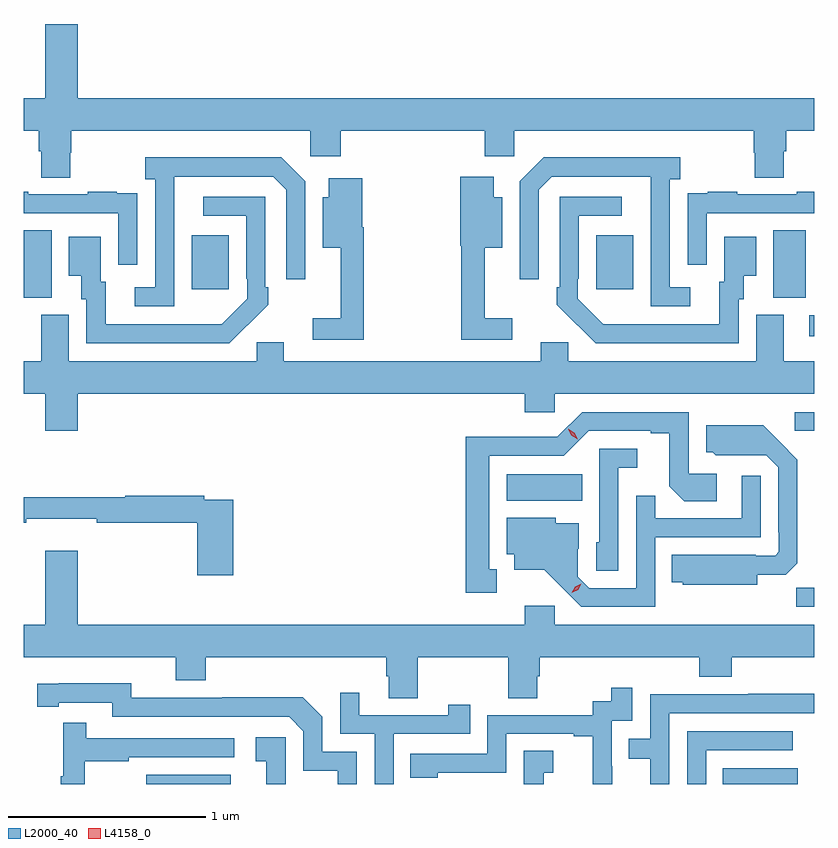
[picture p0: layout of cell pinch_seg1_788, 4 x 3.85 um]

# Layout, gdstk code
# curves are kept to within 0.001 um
import gdstk
lib = gdstk.Library(unit=1e-6, precision=1e-09)
def R(c, l, rs):  # rectangles x0, y0, x1, y1
    for r in rs: c.add(gdstk.rectangle(r[:2], r[2:], *l))
def P(c, l, *ps):  # polygons
    for p in ps: c.add(gdstk.Polygon(p, *l))
L2000_40 = (2000, 40)
L4158_0 = (4158, 0)

pinch_seg1_788 = lib.new_cell('pinch_seg1_788')
R(pinch_seg1_788, L2000_40, [(381.303,572.402,381.73,572.449), (384.22,572.402,384.598,572.482), (384.592,573.3,384.683,573.395), (383.126,573.836,383.51,573.97), (384.585,574.188,384.683,574.284), (384.657,574.668,384.683,574.773), (380.683,574.861,380.824,575.204), (384.476,574.861,384.64,575.204), (381.533,574.905,381.721,575.179), (383.579,574.905,383.767,575.179)])
P(pinch_seg1_788, L2000_40, [(380.919,575.595),(380.924,575.595),(380.924,575.708),(382.134,575.708),(382.134,575.577),(382.286,575.577),(382.286,575.708),(383.015,575.708),(383.015,575.577),(383.166,575.577),(383.166,575.708),(384.377,575.708),(384.377,575.595),(384.382,575.595),(384.382,575.47),(384.529,575.47),(384.529,575.602),(384.542,575.602),(384.542,575.708),(384.683,575.708),(384.683,575.872),(380.956,575.872),(380.956,576.247),(380.792,576.247),(380.792,575.872),(380.683,575.872),(380.683,575.708),(380.759,575.708),(380.759,575.602),(380.771,575.602),(380.771,575.47),(380.919,575.47)],
  [(381.444,575.275),(381.445,575.475),(381.945,575.475),(382.011,575.409),(382.011,574.956),(382.107,574.956),(382.107,575.451),(381.986,575.572),(381.297,575.572),(381.297,575.462),(381.348,575.462),(381.348,574.914),(381.246,574.914),(381.246,574.818),(381.444,574.818)],
  [(384.055,574.914),(383.952,574.914),(383.952,575.462),(384.004,575.462),(384.004,575.572),(383.314,575.572),(383.193,575.451),(383.193,574.956),(383.289,574.956),(383.289,575.409),(383.355,575.475),(383.855,575.475),(383.856,574.818),(384.055,574.818)],
  [(383.155,574.759),(383.015,574.759),(383.015,575.114),(383.104,575.114),(383.104,575.371),(383.062,575.371),(383.062,575.473),(382.892,575.473),(382.892,575.124),(382.897,575.124),(382.897,574.65),(383.155,574.65)],
  [(382.403,575.218),(382.397,575.218),(382.397,575.467),(382.226,575.467),(382.226,575.371),(382.196,575.371),(382.196,575.114),(382.286,575.114),(382.286,574.759),(382.146,574.759),(382.146,574.65),(382.403,574.65)],
  [(381.258,575.282),(381.257,575.282),(381.257,575.391),(381.155,575.391),(381.155,575.398),(381.007,575.398),(381.007,575.385),(380.707,575.385),(380.707,575.398),(380.683,575.398),(380.683,575.289),(381.162,575.289),(381.162,575.028),(381.258,575.028)],
  [(384.138,575.289),(384.683,575.289),(384.683,575.398),(384.593,575.398),(384.593,575.385),(384.293,575.385),(384.293,575.398),(384.145,575.398),(384.145,575.391),(384.043,575.391),(384.043,575.282),(384.042,575.282),(384.042,575.028),(384.138,575.028)],
  [(381.815,574.723),(381.816,574.722),(381.921,574.827),(381.921,574.915),(381.906,574.915),(381.906,575.373),(381.591,575.373),(381.591,575.277),(381.81,575.277),(381.81,574.957),(381.813,574.957),(381.813,574.857),(381.685,574.729),(381.097,574.728),(381.097,574.944),(381.073,574.944),(381.073,575.17),(380.912,575.17),(380.912,574.973),(380.975,574.973),(380.975,574.854),(381,574.854),(381,574.632),(381.724,574.632)],
  [(384.3,574.854),(384.325,574.854),(384.325,574.973),(384.388,574.973),(384.388,575.17),(384.227,575.17),(384.227,574.944),(384.203,574.944),(384.203,574.728),(383.616,574.729),(383.487,574.857),(383.487,574.957),(383.49,574.957),(383.49,575.277),(383.71,575.277),(383.71,575.373),(383.394,575.373),(383.394,574.915),(383.379,574.915),(383.379,574.827),(383.576,574.632),(384.3,574.632)],
  [(380.956,574.376),(383.219,574.376),(383.219,574.283),(383.37,574.283),(383.37,574.376),(384.683,574.376),(384.683,574.54),(384.529,574.54),(384.529,574.776),(384.389,574.776),(384.389,574.54),(383.439,574.54),(383.439,574.638),(383.3,574.638),(383.3,574.54),(382,574.54),(382,574.638),(381.861,574.638),(381.861,574.54),(380.911,574.54),(380.911,574.776),(380.771,574.776),(380.771,574.54),(380.683,574.54),(380.683,574.376),(380.792,574.376),(380.792,574.188),(380.956,574.188)],
  [(383.077,573.489),(383.038,573.489),(383.038,574.062),(383.415,574.062),(383.541,574.188),(383.855,574.188),(383.855,574.176),(383.949,574.176),(383.949,573.908),(384.025,573.832),(384.19,573.832),(384.19,573.972),(384.048,573.972),(384.048,574.284),(383.508,574.284),(383.382,574.158),(383.16,574.158),(383.16,574.16),(382.92,574.16),(382.92,573.369),(383.077,573.369)],
  [(384.394,573.461),(384.538,573.461),(384.597,573.52),(384.597,574.042),(384.425,574.216),(384.137,574.216),(384.137,574.08),(384.168,574.08),(384.184,574.064),(384.441,574.065),(384.501,574.005),(384.501,573.676),(384.504,573.676),(384.504,573.576),(384.486,573.558),(384.386,573.558),(384.386,573.562),(383.962,573.562),(383.962,573.422),(384.018,573.422),(384.018,573.41),(384.394,573.41)],
  [(383.691,574.001),(383.788,574.001),(383.788,574.098),(383.595,574.098),(383.595,573.624),(383.58,573.624),(383.58,573.481),(383.691,573.481)],
  [(383.877,573.651),(384.411,573.651),(384.411,573.961),(384.315,573.961),(384.315,573.747),(383.879,573.747),(383.879,573.86),(383.781,573.86),(383.781,573.393),(383.544,573.393),(383.487,573.45),(383.487,573.592),(383.491,573.592),(383.491,573.721),(383.376,573.721),(383.376,573.748),(383.126,573.748),(383.126,573.564),(383.165,573.564),(383.165,573.485),(383.317,573.485),(383.504,573.3),(383.877,573.3)],
  [(381.743,573.84),(381.596,573.84),(381.596,573.86),(381.196,573.86),(381.196,573.853),(380.683,573.853),(380.683,573.724),(380.696,573.724),(380.696,573.743),(381.052,573.743),(381.052,573.724),(381.56,573.724),(381.56,573.459),(381.743,573.459)],
  [(380.956,573.583),(380.792,573.583),(380.792,573.208),(380.683,573.208),(380.683,573.044),(381.452,573.044),(381.452,572.927),(381.605,572.927),(381.605,573.044),(382.517,573.044),(382.517,572.946),(382.529,572.946),(382.529,572.836),(382.677,572.836),(382.677,573.044),(383.134,573.044),(383.134,572.836),(383.281,572.836),(383.281,572.946),(383.294,572.946),(383.294,573.044),(384.101,573.044),(384.101,572.945),(384.266,572.945),(384.266,573.044),(384.683,573.044),(384.683,573.208),(383.37,573.208),(383.37,573.304),(383.219,573.304),(383.219,573.208),(380.956,573.208)],
  [(382.368,572.565),(382.194,572.565),(382.194,572.742),(382.096,572.84),(381.688,572.84),(381.688,572.838),(381.228,572.838),(381.228,572.911),(380.752,572.91),(380.752,572.794),(380.86,572.794),(380.86,572.814),(381.132,572.814),(381.132,572.742),(382.026,572.742),(382.098,572.67),(382.098,572.469),(382.271,572.469),(382.271,572.402),(382.368,572.402)],
  [(383.66,572.492),(383.658,572.492),(383.658,572.721),(383.763,572.721),(383.763,572.89),(383.655,572.89),(383.655,572.82),(383.562,572.82),(383.562,572.751),(383.028,572.751),(383.028,572.556),(382.639,572.556),(382.639,572.433),(382.779,572.433),(382.779,572.46),(383.124,572.46),(383.124,572.655),(383.465,572.655),(383.465,572.643),(383.561,572.643),(383.561,572.402),(383.66,572.402)],
  [(382.554,572.655),(382.943,572.655),(382.943,572.803),(382.832,572.803),(382.832,572.751),(382.381,572.751),(382.381,572.863),(382.284,572.863),(382.284,572.655),(382.458,572.655),(382.458,572.402),(382.554,572.402)],
  [(383.949,572.76),(384.683,572.76),(384.683,572.858),(384.349,572.858),(384.349,572.856),(383.853,572.856),(383.853,572.631),(383.743,572.631),(383.743,572.53),(383.853,572.53),(383.853,572.402),(383.949,572.402)],
  [(380.992,572.518),(381.215,572.518),(381.215,572.538),(381.748,572.538),(381.748,572.634),(380.999,572.634),(380.999,572.713),(380.882,572.713),(380.882,572.441),(380.871,572.441),(380.871,572.402),(380.992,572.402)],
  [(384.135,572.574),(384.574,572.574),(384.574,572.67),(384.039,572.67),(384.039,572.402),(384.135,572.402)],
  [(382.008,572.638),(381.858,572.638),(381.858,572.517),(381.911,572.517),(381.911,572.402),(382.008,572.402)],
  [(383.313,572.459),(383.362,572.459),(383.362,572.569),(383.214,572.569),(383.214,572.402),(383.313,572.402)])
P(pinch_seg1_788, L4158_0, [(383.456,573.37),(383.456,573.37),(383.474,573.4),(383.505,573.416),(383.505,573.416),(383.505,573.416),(383.488,573.386),(383.457,573.37)],
  [(383.485,574.146),(383.454,574.166),(383.438,574.199),(383.438,574.2),(383.438,574.2),(383.469,574.18),(383.486,574.146),(383.486,574.146)])

lib.write_gds('pinch_seg1_788.gds')
